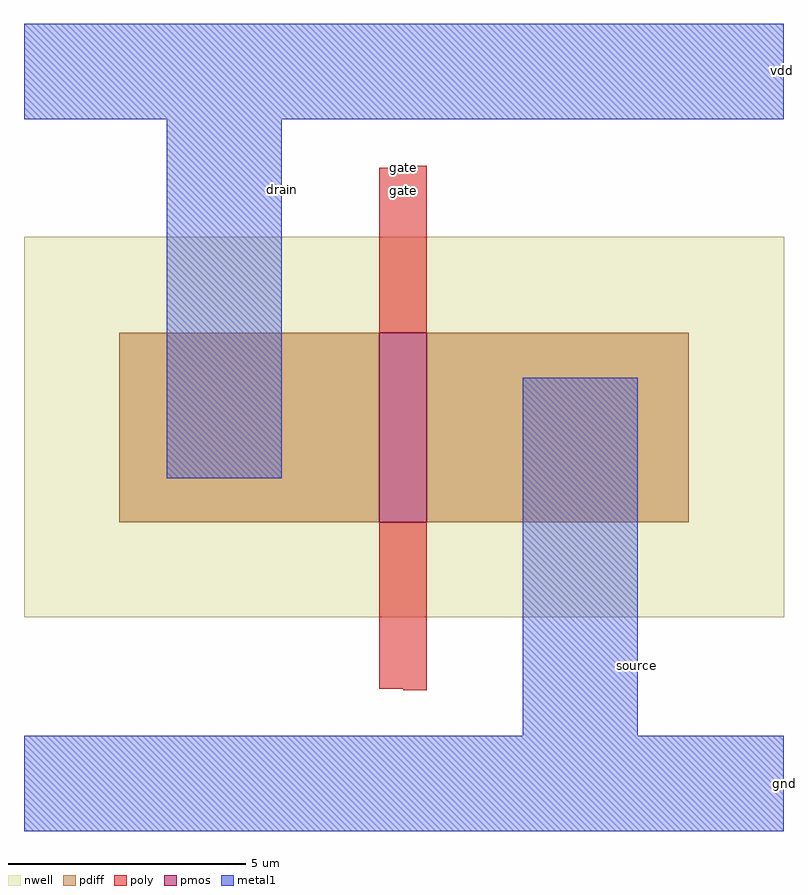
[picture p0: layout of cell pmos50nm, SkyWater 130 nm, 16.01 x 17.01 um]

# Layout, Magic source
magic
tech sky130A
<< nwell >>
rect -549 -200 1051 601
<< pmos >>
rect 198 0 298 399
<< pdiff >>
rect -349 0 198 399
rect 298 0 850 399
<< poly >>
rect 249 747 298 751
rect 198 399 298 747
rect 198 -351 298 0
rect 249 -354 298 -351
<< metal1 >>
rect -550 849 1050 1050
rect -249 93 -7 849
rect 501 -450 743 304
rect -550 -651 1050 -450
<< labels >>
rlabel poly 249 698 249 698 1 gate
rlabel poly 249 747 249 747 1 gate
rlabel poly 250 751 250 751 1 gate
rlabel metal1 1048 951 1048 951 1 vdd
rlabel space -6 701 -6 701 1 drain
rlabel metal1 741 -302 741 -302 1 source
rlabel space 1051 -550 1051 -550 7 gnd
<< end >>
